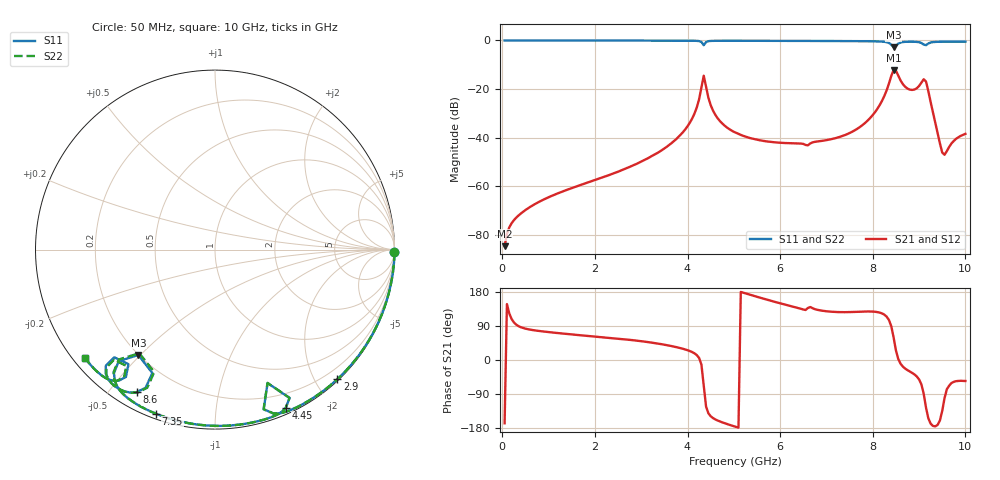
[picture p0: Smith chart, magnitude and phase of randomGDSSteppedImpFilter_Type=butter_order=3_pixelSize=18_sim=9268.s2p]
! freq	dB(S11)	phase(S11)	dB(S12)	phase(S12)
!  dB(S21)	phase(S21)	dB(S22)	phase(S22)
!S-par simulation data
#  GHz  S  DB  R 50
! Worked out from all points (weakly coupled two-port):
!   200 points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, 50 MHz to 10 GHz, reference 50 ohm
!   highest |S21| = -12.12 dB at 8.45 GHz (marker M1); lowest = -84.5 dB at 50 MHz (marker M2)
!   lowest |S11| = -2.8 dB at 8.45 GHz (marker M3), VSWR 6.31, Z = 9.92 - j24.7 ohm
!   |S11| at or under -10 dB: nowhere
!   |S22| runs from -2.9 to 0.0 dB; largest |S21 - S12| = 0
!   S11 on the Smith chart (normalised r, x): 50 MHz: open; 2.9 GHz: 0.02, -2.32; 4.45 GHz: 0.06, -1.54; 7.35 GHz: 0.02, -0.70; 8.6 GHz: 0.07, -0.59; 10 GHz: 0.03, -0.36
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0.05  -0.00 -0.8  -84.52 -167.1  -84.52 -167.1  -0.00 -0.8
0.55  -0.01 -9.1  -69.03 81.3  -69.03 81.3  -0.01 -9.1
1.75  -0.04 -28.5  -58.99 64.6  -58.99 64.6  -0.04 -28.5
2.9  -0.06 -46.7  -50.71 51.2  -50.71 51.2  -0.06 -46.7
3.4  -0.07 -54.5  -45.65 42.6  -45.65 42.6  -0.07 -54.5
4.05  -0.11 -65.0  -33.79 23.6  -33.79 23.6  -0.11 -65.1
4.2  -0.17 -68.5  -27.51 13.0  -27.51 13.0  -0.17 -68.5
4.35  -1.95 -68.5  -14.49 -67.3  -14.49 -67.3  -1.96 -68.5
4.45  -0.29 -66.0  -23.50 -140.5  -23.50 -140.5  -0.29 -66.0
4.65  -0.13 -71.1  -31.97 -159.7  -31.97 -159.7  -0.13 -71.1
5.05  -0.13 -77.6  -37.94 -176.7  -37.94 -176.7  -0.13 -77.6
6.7  -0.21 -100.8  -41.88 136.7  -41.88 136.7  -0.21 -100.8
7.35  -0.25 -109.7  -39.21 126.2  -39.21 126.2  -0.25 -109.8
7.95  -0.33 -118.8  -31.72 128.0  -31.72 128.0  -0.33 -118.8
8.35  -1.02 -129.3  -17.67 105.4  -17.67 105.4  -1.05 -129.6
8.45  -2.78 -126.0  -12.12 59.5  -12.12 59.5  -2.92 -126.1
8.6  -0.85 -118.8  -16.43 -9.8  -16.43 -9.8  -0.87 -118.4
8.85  -0.51 -126.8  -20.34 -34.0  -20.34 -34.0  -0.50 -126.5
9.15  -1.94 -127.1  -16.90 -126.0  -16.90 -126.0  -1.78 -127.3
9.5  -0.50 -132.4  -46.06 -134.2  -46.06 -134.2  -0.50 -132.5
9.55  -0.49 -133.2  -46.96 -100.3  -46.96 -100.3  -0.49 -133.4
10  -0.51 -140.0  -38.38 -55.4  -38.38 -55.4  -0.50 -140.1
